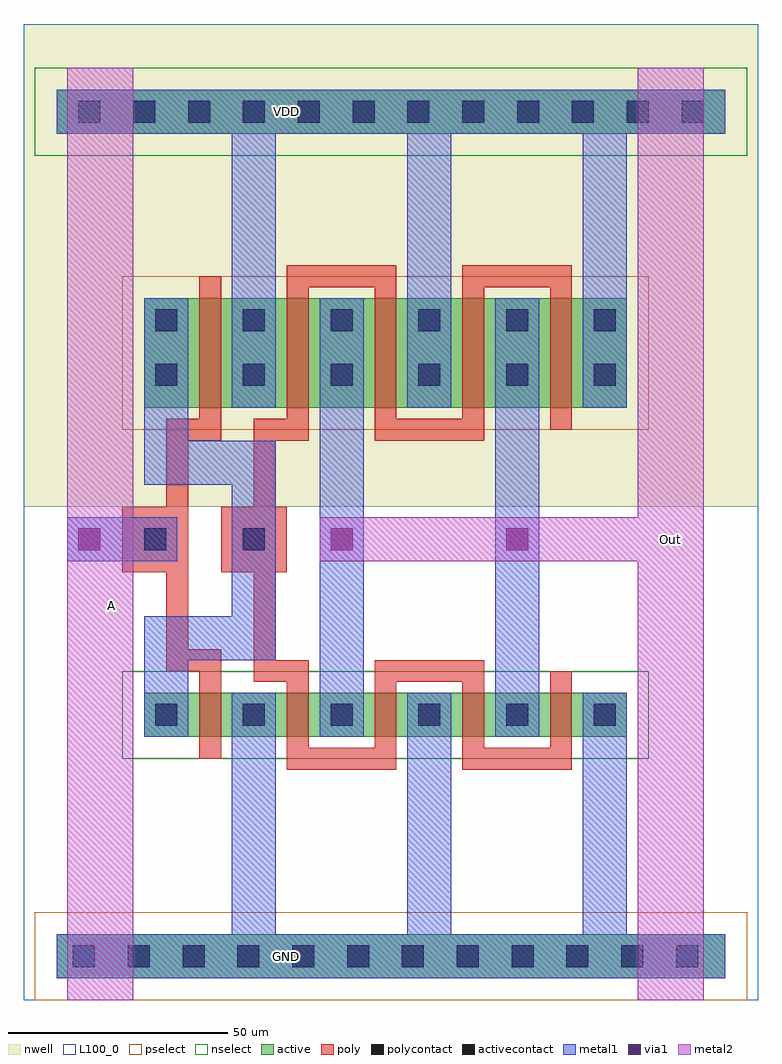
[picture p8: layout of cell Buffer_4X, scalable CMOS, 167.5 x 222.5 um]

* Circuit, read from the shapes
.subckt Buffer_4X A GND Out VDD
M1 GND A n1 GND nfet w=10u l=5u
M2 Out n1 GND GND nfet w=10u l=5u m=4
M3 VDD A n1 VDD pfet w=25u l=5u
M4 Out n1 VDD VDD pfet w=25u l=5u m=4
.ends

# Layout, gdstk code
import gdstk
lib = gdstk.Library(unit=1e-6, precision=1e-09)
def R(c, l, rs):  # rectangles x0, y0, x1, y1
    for r in rs: c.add(gdstk.rectangle(r[:2], r[2:], *l))
def A(c, l, x, y, w, h, nx, ny, dx, dy):  # array of equal rectangles
    R(c, l, [(x+i*dx, y+j*dy, x+i*dx+w, y+j*dy+h) for i in range(nx) for j in range(ny)])
nwell = (42, 0)
active = (43, 0)
pselect = (44, 0)
nselect = (45, 0)
poly = (46, 0)
polycontact = (47, 0)
activecontact = (48, 0)
metal1 = (49, 0)
via1 = (50, 0)
metal2 = (51, 0)
L100_0 = (100, 0)

buffer_4x = lib.new_cell('Buffer_4X')
R(buffer_4x, nwell, [(0,112.5,167.5,222.5), (7.5,112.5,160,190), (0,190,167.5,215), (7.5,215,160,222.5)])
R(buffer_4x, active, [(7.5,5,160,15), (27.5,60,137.5,70), (27.5,135,137.5,160), (7.5,197.5,160,207.5)])
R(buffer_4x, pselect, [(2.5,0,165,20), (22.5,130,142.5,165)])
R(buffer_4x, nselect, [(22.5,55,142.5,75), (2.5,192.5,165,212.5)])
A(buffer_4x, poly, 60, 57.5, 5, 15, 3, 1, 20, 0)
A(buffer_4x, poly, 60, 132.5, 5, 30, 3, 1, 20, 0)
R(buffer_4x, poly, [(60,52.5,85,57.5), (100,52.5,125,57.5), (40,55,45,75), (120,57.5,125,75), (52.5,72.5,65,77.5), (80,72.5,105,77.5), (32.5,75,45,80), (52.5,77.5,57.5,97.5), (32.5,80,37.5,97.5), (22.5,97.5,37.5,112.5), (45,97.5,60,112.5), (32.5,112.5,37.5,127.5), (52.5,112.5,57.5,127.5), (32.5,127.5,45,132.5), (52.5,127.5,65,132.5), (80,127.5,105,132.5), (120,130,125,162.5), (40,132.5,45,165), (60,162.5,85,167.5), (100,162.5,125,167.5)])
R(buffer_4x, polycontact, [(27.5,102.5,32.5,107.5), (50,102.5,55,107.5)])
A(buffer_4x, activecontact, 11.25, 7.5, 5, 5, 12, 1, 12.5, 0)
A(buffer_4x, activecontact, 30, 62.5, 5, 5, 6, 2, 20, 77.5)
A(buffer_4x, activecontact, 30, 152.5, 5, 5, 6, 1, 20, 0)
A(buffer_4x, activecontact, 12.5, 200, 5, 5, 12, 1, 12.5, 0)
A(buffer_4x, metal1, 47.5, 15, 10, 55, 3, 1, 40, 0)
A(buffer_4x, metal1, 47.5, 135, 10, 62.5, 3, 1, 40, 0)
R(buffer_4x, metal1, [(7.5,5,160,15), (27.5,60,37.5,77.5), (67.5,60,77.5,160), (107.5,60,117.5,160), (27.5,77.5,57.5,87.5), (47.5,87.5,57.5,117.5), (10,100,35,110), (27.5,117.5,57.5,127.5), (27.5,127.5,37.5,160), (7.5,197.5,160,207.5)])
R(buffer_4x, via1, [(12.5,102.5,17.5,107.5), (70,102.5,75,107.5), (110,102.5,115,107.5)])
R(buffer_4x, metal2, [(10,0,25,212.5), (140,0,155,100), (67.5,100,155,110), (140,110,155,212.5)])
R(buffer_4x, L100_0, [(0,0,167.5,222.5)])
buffer_4x.add(gdstk.Label('VDD', (60,202.5), layer=49, texttype=1))
buffer_4x.add(gdstk.Label('GND', (60,10), layer=49, texttype=1))
buffer_4x.add(gdstk.Label('A', (20,90), layer=51, texttype=1))
buffer_4x.add(gdstk.Label('Out', (147.5,105), layer=51, texttype=1))

lib.write_gds('Buffer_4X.gds')
